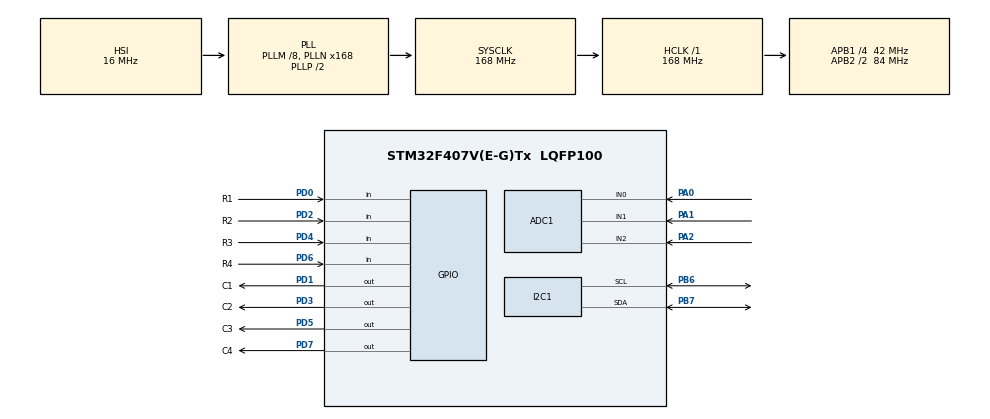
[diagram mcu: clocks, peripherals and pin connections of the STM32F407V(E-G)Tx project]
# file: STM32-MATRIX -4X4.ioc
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ADC1.Channel-0\#ChannelRegularConversion=ADC_CHANNEL_0
ADC1.Channel-1\#ChannelRegularConversion=ADC_CHANNEL_TEMPSENSOR
ADC1.Channel-2\#ChannelRegularConversion=ADC_CHANNEL_VREFINT
ADC1.Channel-3\#ChannelInjectedConversion=ADC_CHANNEL_0
ADC1.ContinuousConvMode=ENABLE
ADC1.InjNumberOfConversion=1
ADC1.InjectedOffset-3\#ChannelInjectedConversion=0
ADC1.InjectedRank-3\#ChannelInjectedConversion=1
ADC1.NbrOfConversion=3
ADC1.NbrOfConversionFlag=1
ADC1.Rank-0\#ChannelRegularConversion=1
ADC1.Rank-1\#ChannelRegularConversion=2
ADC1.Rank-2\#ChannelRegularConversion=3
ADC1.SamplingTime-0\#ChannelRegularConversion=ADC_SAMPLETIME_112CYCLES
ADC1.SamplingTime-1\#ChannelRegularConversion=ADC_SAMPLETIME_112CYCLES
ADC1.SamplingTime-2\#ChannelRegularConversion=ADC_SAMPLETIME_112CYCLES
ADC1.SamplingTime-3\#ChannelInjectedConversion=ADC_SAMPLETIME_112CYCLES
ADC1.master=1
Mcu.Family=STM32F4
Mcu.Name=STM32F407V(E-G)Tx
Mcu.Package=LQFP100
NVIC.PriorityGroup=NVIC_PRIORITYGROUP_4
PA0-WKUP.Signal=ADCx_IN0
PA1.Signal=ADCx_IN1
PA13.Mode=Serial_Wire
PA13.Signal=SYS_JTMS-SWDIO
PA14.Mode=Serial_Wire
PA14.Signal=SYS_JTCK-SWCLK
PA2.Signal=ADCx_IN2
PB6.Mode=I2C
PB6.Signal=I2C1_SCL
PB7.Mode=I2C
PB7.Signal=I2C1_SDA
PC14-OSC32_IN.Mode=LSE-External-Oscillator
PC14-OSC32_IN.Signal=RCC_OSC32_IN
PC15-OSC32_OUT.Mode=LSE-External-Oscillator
PC15-OSC32_OUT.Signal=RCC_OSC32_OUT
PD0.GPIO_Label=R1
PD0.GPIO_PuPd=GPIO_PULLUP
PD0.Signal=GPIO_Input
PD1.GPIO_Label=C1
PD1.GPIO_PuPd=GPIO_NOPULL
PD1.PinState=GPIO_PIN_SET
PD1.Signal=GPIO_Output
PD2.GPIO_Label=R2
PD2.GPIO_PuPd=GPIO_PULLUP
PD2.Signal=GPIO_Input
PD3.GPIO_Label=C2
PD3.GPIO_PuPd=GPIO_NOPULL
PD3.PinState=GPIO_PIN_SET
PD3.Signal=GPIO_Output
PD4.GPIO_Label=R3
PD4.GPIO_PuPd=GPIO_PULLUP
PD4.Signal=GPIO_Input
PD5.GPIO_Label=C3
PD5.PinState=GPIO_PIN_SET
PD5.Signal=GPIO_Output
PD6.GPIO_Label=R4
PD6.GPIO_PuPd=GPIO_PULLUP
PD6.Signal=GPIO_Input
PD7.GPIO_Label=C4
PD7.GPIO_PuPd=GPIO_NOPULL
PD7.PinState=GPIO_PIN_SET
PD7.Signal=GPIO_Output
PH0-OSC_IN.Mode=HSE-External-Oscillator
PH0-OSC_IN.Signal=RCC_OSC_IN
PH1-OSC_OUT.Mode=HSE-External-Oscillator
PH1-OSC_OUT.Signal=RCC_OSC_OUT
ProjectManager.HeapSize=0x200
ProjectManager.StackSize=0x400
ProjectManager.TargetToolchain=MDK-ARM V5.32
RCC.48MHZClocksFreq_Value=84000000
RCC.AHBFreq_Value=168000000
RCC.APB1CLKDivider=RCC_HCLK_DIV4
RCC.APB1Freq_Value=42000000
RCC.APB1TimFreq_Value=84000000
RCC.APB2CLKDivider=RCC_HCLK_DIV2
RCC.APB2Freq_Value=84000000
RCC.APB2TimFreq_Value=168000000
RCC.CortexFreq_Value=168000000
RCC.HCLKFreq_Value=168000000
RCC.HSE_VALUE=8000000
RCC.HSI_VALUE=16000000
RCC.PLLM=8
RCC.PLLN=168
RCC.SYSCLKFreq_VALUE=168000000
RCC.SYSCLKSource=RCC_SYSCLKSOURCE_PLLCLK
RCC.VCOOutputFreq_Value=336000000
SH.ADCx_IN0.0=ADC1_IN0,IN0
SH.ADCx_IN1.0=ADC1_IN1,IN1
SH.ADCx_IN2.0=ADC1_IN2,IN2
VP_ADC1_TempSens_Input.Mode=IN-TempSens
VP_ADC1_Vref_Input.Mode=IN-Vrefint
board=custom

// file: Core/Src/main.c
/* USER CODE BEGIN Header */
/**
  ******************************************************************************
  * @file           : main.c
  * @brief          : Main program body
  ******************************************************************************
  * @attention
  *
  * Copyright (c) 2023 STMicroelectronics.
  * All rights reserved.
  *
  * This software is licensed under terms that can be found in the LICENSE file
  * in the root directory of this software component.
  * If no LICENSE file comes with this software, it is provided AS-IS.
  *
  ******************************************************************************
  */
/* USER CODE END Header */
#include "main.h"
#include "adc.h"
#include "i2c.h"
#include "gpio.h"

/* USER CODE BEGIN Includes */
#include "i2c-lcd.h"
#include "stdio.h"
/* USER CODE END Includes */

/* USER CODE BEGIN PV */
	int row,cow =0;
	uint32_t value_adc1 = 0;// khoi tao tung bien , gan vao chanel
	uint32_t value_adc2 = 0;
	uint32_t value_adc3 = 0;
	int Vol =0 ;

	int rank1=0;
	int number;
	char so_xxxx[4];
	int Temp;
	float V_SENSOR;
	float T;
	char key;
	int dem=0;
	int vong_quay;
	int gio,phut,giay;
	int status =100;

/* USER CODE END PV */

void SystemClock_Config(void);

/* USER CODE BEGIN 0 */

int so [6]={0};

void scan_key()
{
	char keys [4][4] =
	{
		{'1', '2', '3', 'A'},
		{'4', '5', '6', 'B'},
		{'7', '8', '9', 'C'},
		{'*', '0', '#', 'D'},
	};
	// PHIA DUOI LA MATRIX 4X4
	char col_pin[4]={0x0002,0x0008,0x0020,0x0080};// quet cot
	char row_pin[4]={0x0001,0x0004,0x0010,0x0040};// quet hang
	// quet cot
	for (int col =0;col<4; col++)
	{

		HAL_GPIO_WritePin(GPIOD,col_pin[col],0);
		//quet hang
		for (int row=0;row<4 ;row++)
		{
			if ( HAL_GPIO_ReadPin(GPIOD,row_pin[row]) ==0)
			{

				if (keys[row][col] == '0')
				{
					status = 0;
		    }

				else if (keys[row][col]== '1')
				{
					 status =1;
				}
				else if (keys[row][col] == '2')
				{
					status = 2;
				}
				else if (keys[row][col] == '3')
				{
					status = 3;
				}
				HAL_GPIO_WritePin(GPIOD,col_pin[col],1);

			}

		}
		HAL_GPIO_WritePin(GPIOD,col_pin[col],1);
	}

}

/* USER CODE END 0 */

int main(void)
{

  /* MCU Configuration--------------------------------------------------------*/

  /* Reset of all peripherals, Initializes the Flash interface and the Systick. */
  HAL_Init();

  /* Configure the system clock */
  SystemClock_Config();

  /* Initialize all configured peripherals */
  MX_GPIO_Init();
  MX_I2C1_Init();
  MX_ADC1_Init();
  /* USER CODE BEGIN 2 */
	lcd_init ();
  /* USER CODE END 2 */

  /* Infinite loop */
  while (1)
  {

    /* USER CODE BEGIN 3 */

			scan_key();
			if (status ==2)
			{
				lcd_put_cur(0,0);
				lcd_send_string ("NhietDOLM");

			}
			if (status ==1)
			{
				lcd_put_cur(1,0);
				lcd_send_string ("ADC");

			}

  }
  /* USER CODE END 3 */
}

void SystemClock_Config(void)
{
  RCC_OscInitTypeDef RCC_OscInitStruct = {0};
  RCC_ClkInitTypeDef RCC_ClkInitStruct = {0};

  /** Configure the main internal regulator output voltage
  */
  __HAL_RCC_PWR_CLK_ENABLE();
  __HAL_PWR_VOLTAGESCALING_CONFIG(PWR_REGULATOR_VOLTAGE_SCALE1);

  /** Initializes the RCC Oscillators according to the specified parameters
  * in the RCC_OscInitTypeDef structure.
  */
  RCC_OscInitStruct.OscillatorType = RCC_OSCILLATORTYPE_HSI;
  RCC_OscInitStruct.HSIState = RCC_HSI_ON;
  RCC_OscInitStruct.HSICalibrationValue = RCC_HSICALIBRATION_DEFAULT;
  RCC_OscInitStruct.PLL.PLLState = RCC_PLL_ON;
  RCC_OscInitStruct.PLL.PLLSource = RCC_PLLSOURCE_HSI;
  RCC_OscInitStruct.PLL.PLLM = 8;
  RCC_OscInitStruct.PLL.PLLN = 168;
  RCC_OscInitStruct.PLL.PLLP = RCC_PLLP_DIV2;
  RCC_OscInitStruct.PLL.PLLQ = 4;
  if (HAL_RCC_OscConfig(&RCC_OscInitStruct) != HAL_OK)
  {
    Error_Handler();
  }

  /** Initializes the CPU, AHB and APB buses clocks
  */
  RCC_ClkInitStruct.ClockType = RCC_CLOCKTYPE_HCLK|RCC_CLOCKTYPE_SYSCLK
                              |RCC_CLOCKTYPE_PCLK1|RCC_CLOCKTYPE_PCLK2;
  RCC_ClkInitStruct.SYSCLKSource = RCC_SYSCLKSOURCE_PLLCLK;
  RCC_ClkInitStruct.AHBCLKDivider = RCC_SYSCLK_DIV1;
  RCC_ClkInitStruct.APB1CLKDivider = RCC_HCLK_DIV4;
  RCC_ClkInitStruct.APB2CLKDivider = RCC_HCLK_DIV2;

  if (HAL_RCC_ClockConfig(&RCC_ClkInitStruct, FLASH_LATENCY_5) != HAL_OK)
  {
    Error_Handler();
  }
}

void Error_Handler(void)
{
  __disable_irq();
  while (1)
  {
  }
}
